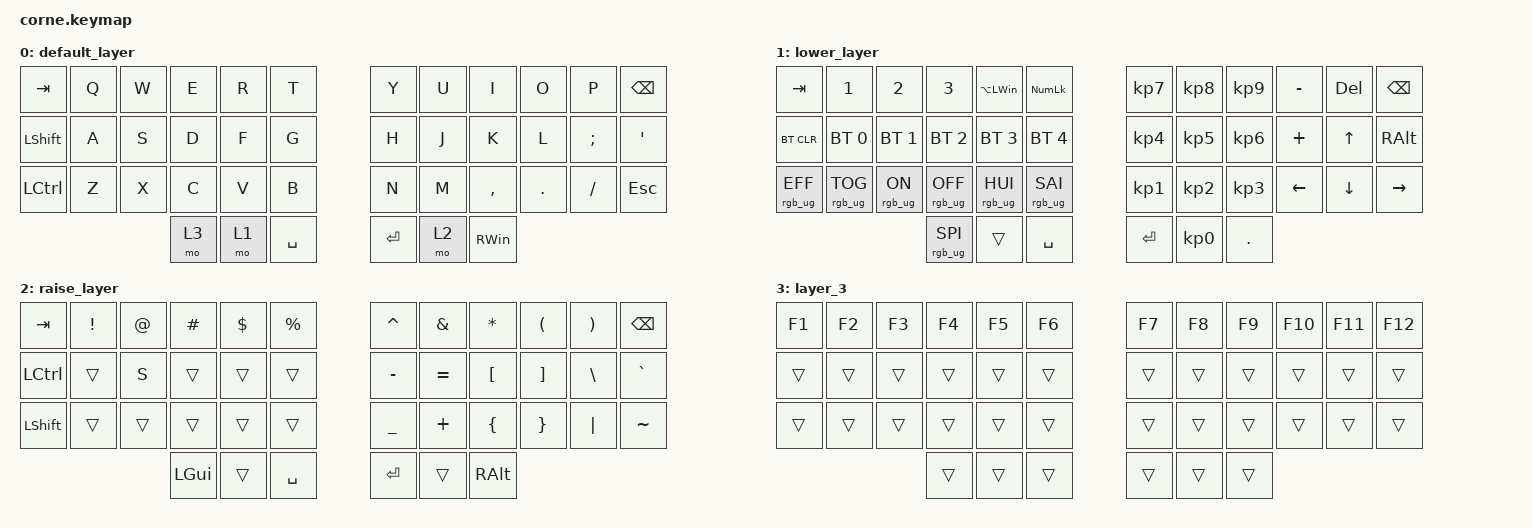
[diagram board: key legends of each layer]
/*
 * Copyright (c) 2020 The ZMK Contributors
 *
 * SPDX-License-Identifier: MIT
 */

#include <behaviors.dtsi>
#include <dt-bindings/zmk/bt.h>
#include <dt-bindings/zmk/keys.h>
#include <dt-bindings/zmk/rgb.h>

/ {
    keymap {
        compatible = "zmk,keymap";

        default_layer {
            // -----------------------------------------------------------------------------------------
            // |  TAB |  Q  |  W  |  E  |  R  |  T  |   |  Y  |  U   |  I  |  O  |  P  | BKSP |
            // | CTRL |  A  |  S  |  D  |  F  |  G  |   |  H  |  J   |  K  |  L  |  ;  |  '   |
            // | SHFT |  Z  |  X  |  C  |  V  |  B  |   |  N  |  M   |  ,  |  .  |  /  | ESC  |
            //                    | GUI | LWR | SPC |   | ENT | RSE  | ALT |

            bindings = <
&kp TAB           &kp Q  &kp W  &kp E  &kp R  &kp T        &kp Y    &kp U  &kp I          &kp O    &kp P     &kp BSPC
&kp LSHFT         &kp A  &kp S  &kp D  &kp F  &kp G        &kp H    &kp J  &kp K          &kp L    &kp SEMI  &kp SQT
&kp LEFT_CONTROL  &kp Z  &kp X  &kp C  &kp V  &kp B        &kp N    &kp M  &kp COMMA      &kp DOT  &kp FSLH  &kp ESC
                                &mo 3  &mo 1  &kp SPACE    &kp RET  &mo 2  &kp RIGHT_WIN
            >;
        };

        lower_layer {
            // -----------------------------------------------------------------------------------------
            // |  TAB |  1  |  2  |  3  |  4  |  5  |   |  6  |  7  |  8  |  9  |  0  | BKSP |
            // | BTCLR| BT1 | BT2 | BT3 | BT4 | BT5 |   | LFT | DWN |  UP | RGT |     |      |
            // | SHFT |     |     |     |     |     |   |     |     |     |     |     |      |
            //                    | GUI |     | SPC |   | ENT |     | ALT |

            bindings = <
&kp TAB          &kp N1           &kp N2          &kp N3           &kp LA(LEFT_WIN)  &kp KP_NUMLOCK     &kp KP_NUMBER_7  &kp KP_NUMBER_8  &kp KP_NUMBER_9  &kp MINUS       &kp DEL       &kp BSPC
&bt BT_CLR       &bt BT_SEL 0     &bt BT_SEL 1    &bt BT_SEL 2     &bt BT_SEL 3      &bt BT_SEL 4       &kp KP_NUMBER_4  &kp KP_NUMBER_5  &kp KP_NUMBER_6  &kp PLUS        &kp UP_ARROW  &kp RIGHT_ALT
&rgb_ug RGB_EFF  &rgb_ug RGB_TOG  &rgb_ug RGB_ON  &rgb_ug RGB_OFF  &rgb_ug RGB_HUI   &rgb_ug RGB_SAI    &kp KP_NUMBER_1  &kp KP_NUMBER_2  &kp KP_NUMBER_3  &kp LEFT_ARROW  &kp DOWN      &kp RIGHT_ARROW
                                                  &rgb_ug RGB_SPI  &trans            &kp SPACE          &kp RET          &kp KP_NUMBER_0  &kp DOT
            >;
        };

        raise_layer {
            // -----------------------------------------------------------------------------------------
            // |  TAB |  !  |  @  |  #  |  $  |  %  |   |  ^  |  &  |  *  |  (  |  )  | BKSP |
            // | CTRL |     |     |     |     |     |   |  -  |  =  |  [  |  ]  |  \  |  `   |
            // | SHFT |     |     |     |     |     |   |  _  |  +  |  {  |  }  | "|" |  ~   |
            //                    | GUI |     | SPC |   | ENT |     | ALT |

            bindings = <
&kp TAB    &kp EXCL  &kp AT  &kp HASH  &kp DLLR  &kp PRCNT    &kp CARET  &kp AMPS   &kp ASTRK  &kp LPAR  &kp RPAR  &kp BSPC
&kp LCTRL  &trans    &kp S   &trans    &trans    &trans       &kp MINUS  &kp EQUAL  &kp LBKT   &kp RBKT  &kp BSLH  &kp GRAVE
&kp LSHFT  &trans    &trans  &trans    &trans    &trans       &kp UNDER  &kp PLUS   &kp LBRC   &kp RBRC  &kp PIPE  &kp TILDE
                             &kp LGUI  &trans    &kp SPACE    &kp RET    &trans     &kp RALT
            >;
        };

        layer_3 {
            bindings = <
&kp F1  &kp F2  &kp F3  &kp F4  &kp F5  &kp F6    &kp F7  &kp F8  &kp F9  &kp F10  &kp F11  &kp F12
&trans  &trans  &trans  &trans  &trans  &trans    &trans  &trans  &trans  &trans   &trans   &trans
&trans  &trans  &trans  &trans  &trans  &trans    &trans  &trans  &trans  &trans   &trans   &trans
                        &trans  &trans  &trans    &trans  &trans  &trans
            >;
        };
    };
};
